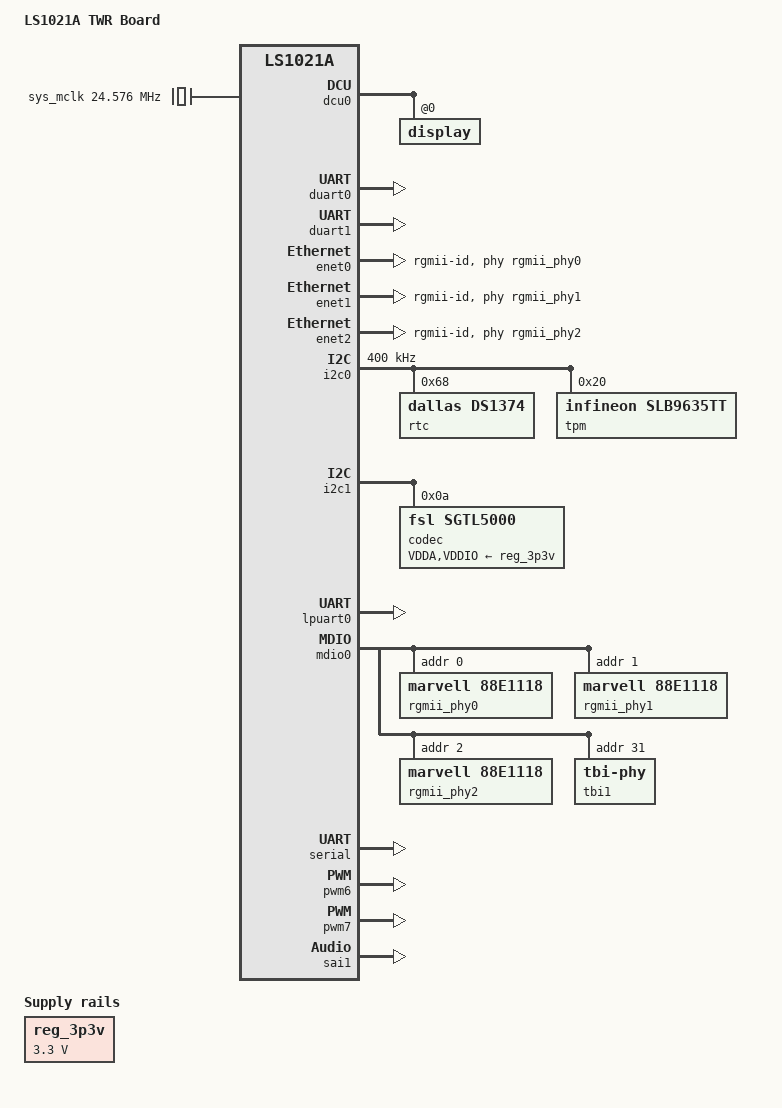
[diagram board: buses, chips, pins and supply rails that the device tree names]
/*
 * Copyright 2013-2014 Freescale Semiconductor, Inc.
 *
 * This program is free software; you can redistribute it and/or modify
 * it under the terms of the GNU General Public License as published by
 * the Free Software Foundation; either version 2 of the License, or
 * (at your option) any later version.
 */

/dts-v1/;
#include "ls1021a.dtsi"

/ {
	model = "LS1021A TWR Board";

	aliases {
		enet0_rgmii_phy = &rgmii_phy0;
		enet1_rgmii_phy = &rgmii_phy1;
		enet2_rgmii_phy = &rgmii_phy2;
	};

	clocks {
		sys_mclk: clock {
			compatible = "fixed-clock";
			#clock-cells = <0>;
			clock-frequency = <24576000>;
		};
	};

	regulators {
		compatible = "simple-bus";
		#address-cells = <1>;
		#size-cells = <0>;

		reg_3p3v: regulator@0 {
			compatible = "regulator-fixed";
			reg = <0>;
			regulator-name = "3P3V";
			regulator-min-microvolt = <3300000>;
			regulator-max-microvolt = <3300000>;
			regulator-always-on;
		};
	};

	sound {
		compatible = "fsl,vf610-sgtl5000";
		simple-audio-card,name = "FSL-VF610-TWR-BOARD";
		simple-audio-card,routing =
			"MIC_IN", "Microphone Jack",
			"Microphone Jack", "Mic Bias",
			"LINE_IN", "Line In Jack",
			"Headphone Jack", "HP_OUT",
			"Speaker Ext", "LINE_OUT";

		simple-audio-card,cpu = <&sai1>;

		simple-audio-card,codec = <&codec>;
	};
};

&dcu0 {
	display = <&display>;
	status = "okay";

	display: display@0 {
		bits-per-pixel = <24>;

		display-timings {
			native-mode = <&timing0>;
			timing0: nl4827hc19 {
				clock-frequency = <10870000>;
				hactive = <480>;
				vactive = <272>;
				hback-porch = <2>;
				hfront-porch = <2>;
				vback-porch = <2>;
				vfront-porch = <2>;
				hsync-len = <41>;
				vsync-len = <4>;
				hsync-active = <1>;
				vsync-active = <1>;
			};
		};
	};
};

&duart0 {
	status = "okay";
};

&duart1 {
	status = "okay";
};

&enet0 {
	phy-handle = <&rgmii_phy0>;
	phy-connection-type = "rgmii-id";
	status = "okay";
};

&enet1 {
	phy-handle = <&rgmii_phy1>;
	phy-connection-type = "rgmii-id";
	status = "okay";
};

&enet2 {
	phy-handle = <&rgmii_phy2>;
	phy-connection-type = "rgmii-id";
	status = "okay";
};

&i2c0 {
	status = "okay";
	clock-frequency = <400000>;

   rtc@68 {
	compatible = "dallas,ds1374";
	reg = <0x68>;
    };

    tpm {
      compatible = "infineon,slb9635tt";
      reg = <0x20>;
    };
};

&i2c1 {
	status = "okay";
	codec: sgtl5000@a {
		compatible = "fsl,sgtl5000";
		reg = <0x0a>;
		VDDA-supply = <&reg_3p3v>;
		VDDIO-supply = <&reg_3p3v>;
		clocks = <&sys_mclk 1>;
	};

	hdmi: sii9022a@39 {
	      status = "disabled";
	      compatible = "fsl,sii902x";
	      reg = <0x39>;
	      interrupts = <GIC_SPI 167 IRQ_TYPE_EDGE_RISING>;
	};
};

&i2c2 {
	status = "disabled";
	monitor: ltc2945@67 {
		reg = <0x67>;
	};
};

&ifc {
	status = "disabled";
	#address-cells = <2>;
	#size-cells = <1>;
	/* NOR, and CPLD on board */
	ranges = <0x0 0x0 0x0 0x60000000 0x08000000
		0x2 0x0 0x0 0x7fb00000 0x00000100>;

		nor@0,0 {
			compatible = "cfi-flash";
			#address-cells = <1>;
			#size-cells = <1>;
			reg = <0x0 0x0 0x8000000>;
			bank-width = <2>;
			device-width = <1>;

			partition@0 {
				/* 128KB for rcw */
				reg = <0x00000000 0x0020000>;
				label = "NOR bank0 RCW Image";
			};

			partition@20000 {
				/* 1MB for DTB */
				reg = <0x00020000 0x00100000>;
				label = "NOR DTB Image";
			};

			partition@120000 {
				/* 8 MB for Linux Kernel Image */
				reg = <0x00120000 0x00800000>;
				label = "NOR Linux Kernel Image";
			};

			partition@920000 {
				/* 56MB for Ramdisk Root File System */
				reg = <0x00920000 0x03600000>;
				label = "NOR Ramdisk Root File System Image";
			};

			partition@3f80000 {
				/* 512KB for bank4 u-boot Image */
				reg = <0x03f80000 0x80000>;
				label = "NOR bank4 u-boot Image";
			};

			partition@4000000 {
				/* 128KB for bank4 RCW Image */
				reg = <0x04000000 0x20000>;
				label = "NOR bank4 RCW Image";
			};

			partition@4020000 {
				/* 63MB JFFS2 ROOT File System Image */
				reg = <0x04020000 0x3f00000>;
				label = "NOR JFFS2 ROOT File System Image";
			};

			partition@7f80000 {
				/* 512KB for bank0 u-boot Image */
				reg = <0x07f80000 0x80000>;
				label = "NOR bank0 u-boot Image";
			};
		};
};

&lpuart0 {
	status = "okay";
};

&mdio0 {
	rgmii_phy0: ethernet-phy@0 {
			    compatible = "marvell,88e1118";
			    reg = <0x0>;
			    marvell,reg-init =
				    /* marvell,reg-init = <reg-page reg mask value> */
				    <3 0x11 0 0x4415>, /* Reg 3,17 */
				    <3 0x10 0 0x77>; /* Reg 3,16 */
		    };
	rgmii_phy1: ethernet-phy@1 {
			    compatible = "marvell,88e1118";
			    reg = <0x1>;
			    marvell,reg-init =
				    /* marvell,reg-init = <reg-page reg mask value> */
				    <3 0x11 0 0x4415>, /* Reg 3,17 */
				    <3 0x10 0 0x77>; /* Reg 3,16 */
		    };
	rgmii_phy2: ethernet-phy@2 {
			    compatible = "marvell,88e1118";
			    reg = <0x2>;
			    marvell,reg-init =
				    /* marvell,reg-init = <reg-page reg mask value> */
				    <3 0x11 0 0x4415>, /* Reg 3,17 */
				    <3 0x10 0 0x77>; /* Reg 3,16 / LED[0]:orange LED[1]:green, 4bit per LED */
		    };
	tbi1: tbi-phy@1f {
		      reg = <0x1f>;
		      device_type = "tbi-phy";
	      };
};

&uqe {
	tdma: ucc@2000 {
		compatible = "fsl,ucc-tdm";
		rx-clock-name = "clk8";
		tx-clock-name = "clk9";
		fsl,rx-sync-clock = "rsync_pin";
		fsl,tx-sync-clock = "tsync_pin";
		fsl,tx-timeslot = <0xfffffffe>;
		fsl,rx-timeslot = <0xfffffffe>;
		fsl,tdm-framer-type = "e1";
		fsl,tdm-mode = "normal";
		fsl,tdm-id = <0>;
		fsl,siram-entry-id = <0>;
	};

	serial: ucc@2200 {
		device_type = "serial";
		compatible = "ucc_uart";
		port-number = <1>;
		rx-clock-name = "brg2";
		tx-clock-name = "brg2";
	};
};

&pwm6 {
	status = "okay";
};

&pwm7 {
	status = "okay";
};

&qspi {
	num-cs = <2>;
	status = "disabled";

	qflash0: n25q128a13@0 {
		compatible = "micron,n25q128a13";
		#address-cells = <1>;
		#size-cells = <1>;
		spi-max-frequency = <20000000>;
		reg = <0>;
	};
};

&sai1 {
	status = "okay";
};
